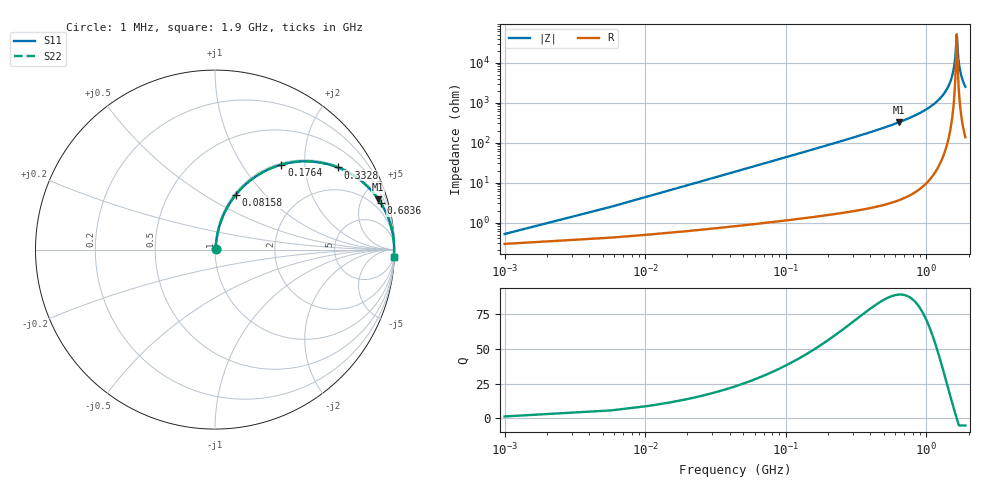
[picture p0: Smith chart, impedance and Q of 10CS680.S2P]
! Coilcraft 1008CS-680 Chip Inductor
! 02 July 2002
# MHZ S MA R 50
!Freq  MagS11  AngS11  MagS21  AngS21  MagS12  AngS12  MagS22  AngS22
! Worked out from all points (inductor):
!   402 points, 1 MHz to 1.9 GHz, reference 50 ohm
!   read as one part in series: L = 68 nH near 10.48 MHz
!   highest Q = 89.1 at 640.9 MHz (marker M1), where L = 80.1 nH
!   self-resonance near 1.646 GHz
!   S11 on the Smith chart (normalised r, x): 1 MHz: 1.01, +0.01; 81.58 MHz: 1.02, +0.70; 176.4 MHz: 1.03, +1.52; 332.8 MHz: 1.04, +2.96; 683.6 MHz: 1.08, +7.05; 1.9 GHz: 4, -49
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1  0.00516 55.4  0.9971 -0.2  0.9971 -0.2  0.00516 55.4
15.22  0.06478 81.4  0.9924 -3.7  0.9924 -3.7  0.06478 81.4
24.7  0.1045 80.4  0.9881 -6.0  0.9881 -6.0  0.1045 80.4
48.4  0.2012 76.1  0.9714 -11.6  0.9714 -11.6  0.2012 76.1
81.58  0.327 69.2  0.9354 -19.1  0.9354 -19.1  0.327 69.2
176.38  0.6008 52.0  0.788 -36.9  0.788 -36.9  0.6008 52.0
318.58  0.8111 35.0  0.5736 -54.2  0.5736 -54.2  0.8111 35.0
332.8  0.8238 33.8  0.5557 -55.5  0.5557 -55.5  0.8238 33.8
636.16  0.9513 17.3  0.2979 -72.0  0.2979 -72.0  0.9513 17.3
640.9  0.9521 17.2  0.2952 -72.2  0.2952 -72.2  0.9521 17.2
683.56  0.9592 15.8  0.272 -73.6  0.272 -73.6  0.9592 15.8
953.74  0.9848 9.3  0.1608 -80.0  0.1608 -80.0  0.9848 9.3
1271.32  0.9954 4.3  0.07434 -84.3  0.07434 -84.3  0.9954 4.3
1470.4  0.9976 1.9  0.03258 -84.9  0.03258 -84.9  0.9976 1.9
1584.16  0.998 0.7  0.01152 -79.8  0.01152 -79.8  0.998 0.7
1607.86  0.998 0.4  0.007409 -74.5  0.007409 -74.5  0.998 0.4
1641.04  0.998 0.1  0.002383 -34.9  0.002383 -34.9  0.998 0.1
1650.52  0.998 -0.0  0.001977 7.7  0.001977 7.7  0.998 -0.0
1688.44  0.998 -0.4  0.006989 73.1  0.006989 73.1  0.998 -0.4
1731.1  0.9979 -0.8  0.01392 80.8  0.01392 80.8  0.9979 -0.8
1802.2  0.9976 -1.4  0.02528 83.8  0.02528 83.8  0.9976 -1.4
1900  0.997 -2.3  0.04029 84.6  0.04029 84.6  0.997 -2.3
